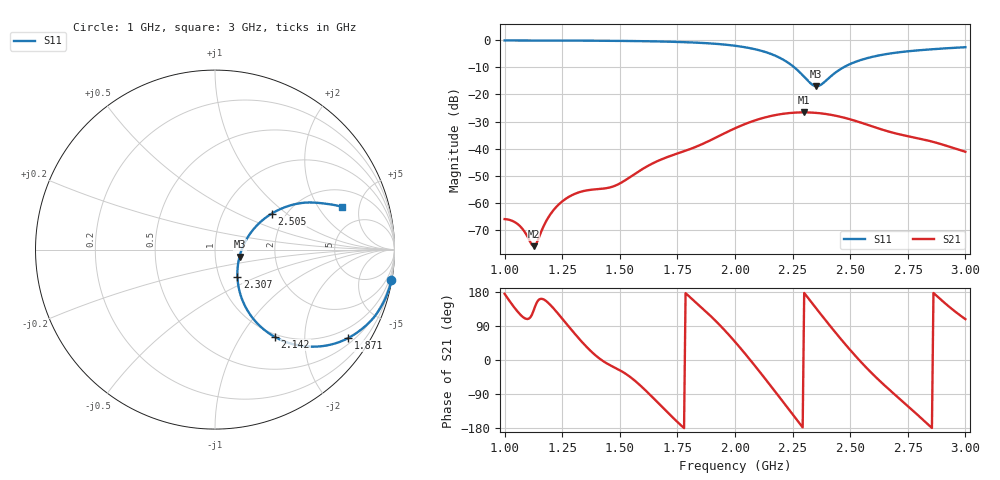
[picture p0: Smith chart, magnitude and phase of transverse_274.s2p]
! TOUCHSTONE file generated by CST MICROWAVE STUDIO
! Date and time: Tue Mar 11 13:58:22 2025
! Project name: transverse.cst
! Parameters = {Fracture=5; B=12.5; D=160; F=15; Feed=2.85625; L=100; M=30; R=0.384908; S=1; Theta=270; length=57.125; wave=114.25}
! Header version: 2024
! Port assignment regex: !\s*Touchstone port\s*([0-9]+)\s*=\s*(CST MWS port|CST DES external port|CST DES block port)\s*(.+)\s* \(\"(.*)\"\)(\s*mode\s*([0-9]+))?.*
! Touchstone port assignment:
! Touchstone port 1 = CST MWS port 1 ("")
! Touchstone port 2 = CST MWS port 2 ("")
# GHz S MA R 50
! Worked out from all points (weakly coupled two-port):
!   304 points, 1 GHz to 3 GHz, reference 50 ohm
!   highest |S21| = -26.62 dB at 2.3 GHz (marker M1); lowest = -76.1 dB at 1.125 GHz (marker M2)
!   lowest |S11| = -17.0 dB at 2.353 GHz (marker M3), VSWR 1.33, Z = 65.6 - j5.15 ohm
!   |S11| at or under -10 dB: 2.258 GHz to 2.47 GHz (212.4 MHz wide, 8.98 % of centre)
!   S12 and S22 are empty: the file has one direction only
!   S11 on the Smith chart (normalised r, x): 1 GHz: 0, -12; 1.871 GHz: 0.67, -3.19; 2.142 GHz: 0.96, -1.43; 2.307 GHz: 1.22, -0.39; 2.505 GHz: 1.69, +0.79; 3 GHz: 3.13, +3.38
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1  0.9975 -9.8  0.0004961 174.6  0 0.0  0 0.0
1.033  0.9971 -10.2  0.0004605 145.9  0 0.0  0 0.0
1.06601  0.9968 -10.6  0.0003701 121.2  0 0.0  0 0.0
1.12541  0.9959 -11.5  0.0001566 129.7  0 0.0  0 0.0
1.13861  0.9957 -11.7  0.0001782 150.5  0 0.0  0 0.0
1.18482  0.9945 -12.5  0.0004916 153.3  0 0.0  0 0.0
1.21782  0.9934 -13.0  0.0007764 132.5  0 0.0  0 0.0
1.27063  0.9918 -13.9  0.001218 94.0  0 0.0  0 0.0
1.33663  0.9895 -15.2  0.001615 47.1  0 0.0  0 0.0
1.48185  0.9803 -18.4  0.002073 -21.3  0 0.0  0 0.0
1.66667  0.9572 -24.1  0.005941 -113.5  0 0.0  0 0.0
1.87129  0.891 -33.6  0.01284 129.4  0 0.0  0 0.0
2.0033  0.7925 -42.9  0.02404 45.8  0 0.0  0 0.0
2.14191  0.5904 -55.6  0.03875 -58.0  0 0.0  0 0.0
2.22772  0.394 -61.8  0.04496 -125.6  0 0.0  0 0.0
2.30033  0.2122 -53.5  0.04668 177.0  0 0.0  0 0.0
2.30693  0.1981 -50.9  0.04665 171.8  0 0.0  0 0.0
2.33993  0.1478 -28.4  0.04606 145.9  0 0.0  0 0.0
2.35314  0.1421 -15.7  0.04562 135.6  0 0.0  0 0.0
2.50495  0.374 32.4  0.03423 23.0  0 0.0  0 0.0
2.66997  0.5699 27.3  0.02045 -78.4  0 0.0  0 0.0
3  0.7485 18.5  0.008723 107.8  0 0.0  0 0.0
